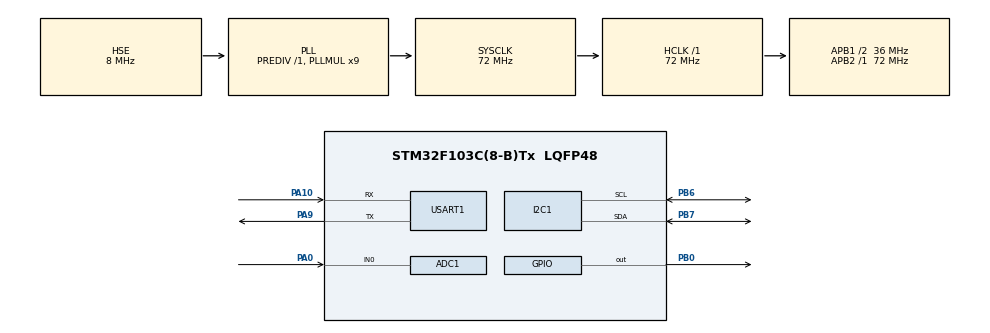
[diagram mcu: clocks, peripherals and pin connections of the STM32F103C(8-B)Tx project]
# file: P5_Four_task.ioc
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ADC1.Channel-0\#ChannelRegularConversion=ADC_CHANNEL_0
ADC1.NbrOfConversionFlag=1
ADC1.Rank-0\#ChannelRegularConversion=1
ADC1.SamplingTime-0\#ChannelRegularConversion=ADC_SAMPLETIME_1CYCLE_5
ADC1.master=1
FREERTOS.Queues01=sensorqueue,5,sensordata_t*,0,Dynamic,NULL,NULL;displayqueue,5,sensordata_t*,0,Dynamic,NULL,NULL;commuqueue,5,sensordata_t,0,Dynamic,NULL,NULL
FREERTOS.Tasks01=sensortask,40,256,startsensortask,As weak,NULL,Dynamic,NULL,NULL;filtertask,24,256,startfiltertask,As external,NULL,Dynamic,NULL,NULL;displaytask,8,512,startdisplaytask,As external,NULL,Dynamic,NULL,NULL;commutask,16,256,startcommutask,As external,NULL,Dynamic,NULL,NULL
FREERTOS.configTOTAL_HEAP_SIZE=10240
Mcu.Family=STM32F1
Mcu.Name=STM32F103C(8-B)Tx
Mcu.Package=LQFP48
NVIC.PriorityGroup=NVIC_PRIORITYGROUP_4
NVIC.TIM4_IRQn=true\:15\:0\:false\:false\:true\:false\:false\:true\:true
NVIC.TimeBase=TIM4_IRQn
NVIC.TimeBaseIP=TIM4
PA0-WKUP.Signal=ADCx_IN0
PA10.Mode=Asynchronous
PA10.Signal=USART1_RX
PA13.Mode=Serial_Wire
PA13.Signal=SYS_JTMS-SWDIO
PA14.Mode=Serial_Wire
PA14.Signal=SYS_JTCK-SWCLK
PA9.Mode=Asynchronous
PA9.Signal=USART1_TX
PB0.GPIO_ModeDefaultOutputPP=GPIO_MODE_OUTPUT_PP
PB0.GPIO_PuPd=GPIO_PULLUP
PB0.Signal=GPIO_Output
PB6.Mode=I2C
PB6.Signal=I2C1_SCL
PB7.Mode=I2C
PB7.Signal=I2C1_SDA
PD0-OSC_IN.Mode=HSE-External-Oscillator
PD0-OSC_IN.Signal=RCC_OSC_IN
PD1-OSC_OUT.Mode=HSE-External-Oscillator
PD1-OSC_OUT.Signal=RCC_OSC_OUT
ProjectManager.HeapSize=0x200
ProjectManager.StackSize=0x400
ProjectManager.TargetToolchain=CMake
RCC.ADCPresc=RCC_ADCPCLK2_DIV6
RCC.AHBFreq_Value=72000000
RCC.APB1CLKDivider=RCC_HCLK_DIV2
RCC.APB1Freq_Value=36000000
RCC.APB1TimFreq_Value=72000000
RCC.APB2Freq_Value=72000000
RCC.APB2TimFreq_Value=72000000
RCC.HCLKFreq_Value=72000000
RCC.PLLMUL=RCC_PLL_MUL9
RCC.PLLSourceVirtual=RCC_PLLSOURCE_HSE
RCC.SYSCLKFreq_VALUE=72000000
RCC.SYSCLKSource=RCC_SYSCLKSOURCE_PLLCLK
RCC.USBFreq_Value=72000000
SH.ADCx_IN0.0=ADC1_IN0,IN0
USART1.VirtualMode=VM_ASYNC
VP_FREERTOS_VS_CMSIS_V2.Mode=CMSIS_V2
VP_SYS_VS_tim4.Mode=TIM4
board=custom

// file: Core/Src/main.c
/* USER CODE BEGIN Header */
/**
  ******************************************************************************
  * @file           : main.c
  * @brief          : Main program body
  ******************************************************************************
  * @attention
  *
  * Copyright (c) 2026 STMicroelectronics.
  * All rights reserved.
  *
  * This software is licensed under terms that can be found in the LICENSE file
  * in the root directory of this software component.
  * If no LICENSE file comes with this software, it is provided AS-IS.
  *
  ******************************************************************************
  */
/* USER CODE END Header */
#include "main.h"
#include "cmsis_os.h"
#include "adc.h"
#include "i2c.h"
#include "usart.h"
#include "gpio.h"

/* USER CODE BEGIN Includes */
#include "drivers/ds18b20.h"
#include "drivers/ina219.h"
#include "drivers/mpu6050.h"
#include "types/sensortype.h"
#include "drivers/oled.h"
/* USER CODE END Includes */

void SystemClock_Config(void);
void MX_FREERTOS_Init(void);

int main(void)
{

  /* MCU Configuration--------------------------------------------------------*/

  /* Reset of all peripherals, Initializes the Flash interface and the Systick. */
  HAL_Init();

  /* Configure the system clock */
  SystemClock_Config();

  /* Initialize all configured peripherals */
  MX_GPIO_Init();
  MX_USART1_UART_Init();
  MX_ADC1_Init();
  MX_I2C1_Init();
  /* USER CODE BEGIN 2 */
  ds18b20_start();
  OLED_Init();
  mpu6050_init();
  ina219_init();
  /* USER CODE END 2 */

  /* Init scheduler */
  osKernelInitialize();  /* Call init function for freertos objects (in cmsis_os2.c) */
  MX_FREERTOS_Init();

  /* Start scheduler */
  osKernelStart();

  /* We should never get here as control is now taken by the scheduler */

  /* Infinite loop */
  while (1)
  {

  }
}

void SystemClock_Config(void)
{
  RCC_OscInitTypeDef RCC_OscInitStruct = {0};
  RCC_ClkInitTypeDef RCC_ClkInitStruct = {0};
  RCC_PeriphCLKInitTypeDef PeriphClkInit = {0};

  /** Initializes the RCC Oscillators according to the specified parameters
  * in the RCC_OscInitTypeDef structure.
  */
  RCC_OscInitStruct.OscillatorType = RCC_OSCILLATORTYPE_HSE;
  RCC_OscInitStruct.HSEState = RCC_HSE_ON;
  RCC_OscInitStruct.HSEPredivValue = RCC_HSE_PREDIV_DIV1;
  RCC_OscInitStruct.HSIState = RCC_HSI_ON;
  RCC_OscInitStruct.PLL.PLLState = RCC_PLL_ON;
  RCC_OscInitStruct.PLL.PLLSource = RCC_PLLSOURCE_HSE;
  RCC_OscInitStruct.PLL.PLLMUL = RCC_PLL_MUL9;
  if (HAL_RCC_OscConfig(&RCC_OscInitStruct) != HAL_OK)
  {
    Error_Handler();
  }

  /** Initializes the CPU, AHB and APB buses clocks
  */
  RCC_ClkInitStruct.ClockType = RCC_CLOCKTYPE_HCLK|RCC_CLOCKTYPE_SYSCLK
                              |RCC_CLOCKTYPE_PCLK1|RCC_CLOCKTYPE_PCLK2;
  RCC_ClkInitStruct.SYSCLKSource = RCC_SYSCLKSOURCE_PLLCLK;
  RCC_ClkInitStruct.AHBCLKDivider = RCC_SYSCLK_DIV1;
  RCC_ClkInitStruct.APB1CLKDivider = RCC_HCLK_DIV2;
  RCC_ClkInitStruct.APB2CLKDivider = RCC_HCLK_DIV1;

  if (HAL_RCC_ClockConfig(&RCC_ClkInitStruct, FLASH_LATENCY_2) != HAL_OK)
  {
    Error_Handler();
  }
  PeriphClkInit.PeriphClockSelection = RCC_PERIPHCLK_ADC;
  PeriphClkInit.AdcClockSelection = RCC_ADCPCLK2_DIV2;
  if (HAL_RCCEx_PeriphCLKConfig(&PeriphClkInit) != HAL_OK)
  {
    Error_Handler();
  }
}

void HAL_TIM_PeriodElapsedCallback(TIM_HandleTypeDef *htim)
{
  if (htim->Instance == TIM4)
  {
    HAL_IncTick();
  }
}

void Error_Handler(void)
{
  __disable_irq();
  while (1)
  {
  }
}

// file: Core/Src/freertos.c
/* USER CODE BEGIN Header */
/**
  ******************************************************************************
  * File Name          : freertos.c
  * Description        : Code for freertos applications
  ******************************************************************************
  * @attention
  *
  * Copyright (c) 2026 STMicroelectronics.
  * All rights reserved.
  *
  * This software is licensed under terms that can be found in the LICENSE file
  * in the root directory of this software component.
  * If no LICENSE file comes with this software, it is provided AS-IS.
  *
  ******************************************************************************
  */
/* USER CODE END Header */

#include "FreeRTOS.h"
#include "task.h"
#include "main.h"
#include "cmsis_os.h"

/* USER CODE BEGIN Includes */
#include "types/sensortype.h"
#include "drivers/ds18b20.h"
#include "drivers/mpu6050.h"
#include "drivers/oled.h"
#include "drivers/font.h"
#include "drivers/ina219.h"
/* USER CODE END Includes */

/* Definitions for sensortask */
osThreadId_t sensortaskHandle;
const osThreadAttr_t sensortask_attributes = {
  .name = "sensortask",
  .stack_size = 256 * 4,
  .priority = (osPriority_t) osPriorityHigh,
};
/* Definitions for filtertask */
osThreadId_t filtertaskHandle;
const osThreadAttr_t filtertask_attributes = {
  .name = "filtertask",
  .stack_size = 256 * 4,
  .priority = (osPriority_t) osPriorityNormal,
};
/* Definitions for displaytask */
osThreadId_t displaytaskHandle;
const osThreadAttr_t displaytask_attributes = {
  .name = "displaytask",
  .stack_size = 512 * 4,
  .priority = (osPriority_t) osPriorityLow,
};
/* Definitions for commutask */
osThreadId_t commutaskHandle;
const osThreadAttr_t commutask_attributes = {
  .name = "commutask",
  .stack_size = 256 * 4,
  .priority = (osPriority_t) osPriorityBelowNormal,
};
/* Definitions for sensorqueue */
osMessageQueueId_t sensorqueueHandle;
const osMessageQueueAttr_t sensorqueue_attributes = {
  .name = "sensorqueue"
};
/* Definitions for displayqueue */
osMessageQueueId_t displayqueueHandle;
const osMessageQueueAttr_t displayqueue_attributes = {
  .name = "displayqueue"
};
/* Definitions for commuqueue */
osMessageQueueId_t commuqueueHandle;
const osMessageQueueAttr_t commuqueue_attributes = {
  .name = "commuqueue"
};

void startsensortask(void *argument);
extern void startfiltertask(void *argument);
extern void startdisplaytask(void *argument);
extern void startcommutask(void *argument);

void MX_FREERTOS_Init(void); /* (MISRA C 2004 rule 8.1) */

void MX_FREERTOS_Init(void) {

  /* Create the queue(s) */
  /* creation of sensorqueue */
  sensorqueueHandle = osMessageQueueNew (5, sizeof(sensordata_t*), &sensorqueue_attributes);

  /* creation of displayqueue */
  displayqueueHandle = osMessageQueueNew (5, sizeof(sensordata_t*), &displayqueue_attributes);

  /* creation of commuqueue */
  commuqueueHandle = osMessageQueueNew (5, sizeof(sensordata_t), &commuqueue_attributes);

  /* Create the thread(s) */
  /* creation of sensortask */
  sensortaskHandle = osThreadNew(startsensortask, NULL, &sensortask_attributes);

  /* creation of filtertask */
  filtertaskHandle = osThreadNew(startfiltertask, NULL, &filtertask_attributes);

  /* creation of displaytask */
  displaytaskHandle = osThreadNew(startdisplaytask, NULL, &displaytask_attributes);

  /* creation of commutask */
  commutaskHandle = osThreadNew(startcommutask, NULL, &commutask_attributes);

}

__weak void startsensortask(void *argument)
{
  for(;;)
  {
    osDelay(1);
  }
}
